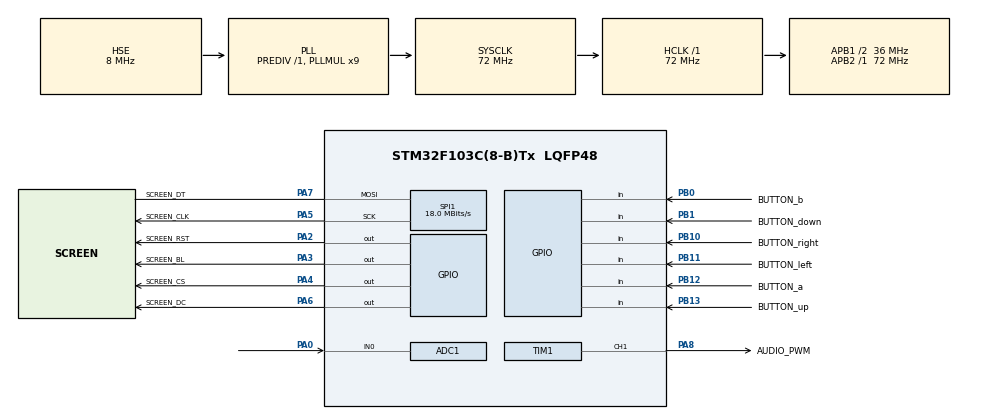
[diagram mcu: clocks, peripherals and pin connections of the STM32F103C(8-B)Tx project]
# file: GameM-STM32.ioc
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ADC1.Channel-2\#ChannelRegularConversion=ADC_CHANNEL_0
ADC1.NbrOfConversionFlag=1
ADC1.Rank-2\#ChannelRegularConversion=1
ADC1.SamplingTime-2\#ChannelRegularConversion=ADC_SAMPLETIME_1CYCLE_5
ADC1.master=1
Dma.Request0=SPI1_TX
Dma.SPI1_TX.0.Direction=DMA_MEMORY_TO_PERIPH
Dma.SPI1_TX.0.Instance=DMA1_Channel3
Dma.SPI1_TX.0.MemDataAlignment=DMA_MDATAALIGN_BYTE
Dma.SPI1_TX.0.MemInc=DMA_MINC_ENABLE
Dma.SPI1_TX.0.Mode=DMA_NORMAL
Dma.SPI1_TX.0.PeriphDataAlignment=DMA_PDATAALIGN_BYTE
Dma.SPI1_TX.0.PeriphInc=DMA_PINC_DISABLE
Dma.SPI1_TX.0.Priority=DMA_PRIORITY_LOW
Mcu.Family=STM32F1
Mcu.Name=STM32F103C(8-B)Tx
Mcu.Package=LQFP48
Mcu.UserConstants=timebase,$$_TIM2_IP_HANDLE_$$;audio_tim,$$_TIM1_IP_HANDLE_$$;AUDIO_CHANNEL,TIM_CHANNEL_1
NVIC.DMA1_Channel3_IRQn=true\:0\:15\:false\:false\:true\:false\:true\:true
NVIC.PriorityGroup=NVIC_PRIORITYGROUP_0
NVIC.SPI1_IRQn=true\:0\:1\:false\:false\:true\:true\:true\:true
NVIC.TIM2_IRQn=true\:0\:0\:false\:false\:true\:true\:true\:true
PA0-WKUP.Signal=ADCx_IN0
PA13.Mode=Serial_Wire
PA13.Signal=SYS_JTMS-SWDIO
PA14.Mode=Serial_Wire
PA14.Signal=SYS_JTCK-SWCLK
PA2.GPIO_Label=SCREEN_RST
PA2.Signal=GPIO_Output
PA3.GPIO_Label=SCREEN_BL
PA3.Signal=GPIO_Output
PA4.GPIO_Label=SCREEN_CS
PA4.Signal=GPIO_Output
PA5.GPIO_Label=SCREEN_CLK
PA5.Mode=Simplex_Bidirectional_Master
PA5.Signal=SPI1_SCK
PA6.GPIO_Label=SCREEN_DC
PA6.Signal=GPIO_Output
PA7.GPIO_Label=SCREEN_DT
PA7.Mode=Simplex_Bidirectional_Master
PA7.Signal=SPI1_MOSI
PA8.GPIO_Label=AUDIO_PWM
PA8.Signal=S_TIM1_CH1
PB0.GPIO_Label=BUTTON_b
PB0.GPIO_Mode=GPIO_MODE_INPUT
PB0.GPIO_PuPd=GPIO_PULLUP
PB0.Signal=GPIO_Input
PB1.GPIO_Label=BUTTON_down
PB1.GPIO_Mode=GPIO_MODE_INPUT
PB1.GPIO_PuPd=GPIO_PULLUP
PB1.Signal=GPIO_Input
PB10.GPIO_Label=BUTTON_right
PB10.GPIO_Mode=GPIO_MODE_INPUT
PB10.GPIO_PuPd=GPIO_PULLUP
PB10.Signal=GPIO_Input
PB11.GPIO_Label=BUTTON_left
PB11.GPIO_PuPd=GPIO_PULLUP
PB11.Signal=GPIO_Input
PB12.GPIO_Label=BUTTON_a
PB12.GPIO_Mode=GPIO_MODE_INPUT
PB12.GPIO_PuPd=GPIO_PULLUP
PB12.Signal=GPIO_Input
PB13.GPIO_Label=BUTTON_up
PB13.GPIO_Mode=GPIO_MODE_INPUT
PB13.GPIO_PuPd=GPIO_PULLUP
PB13.Signal=GPIO_Input
PD0-OSC_IN.Mode=HSE-External-Oscillator
PD0-OSC_IN.Signal=RCC_OSC_IN
PD1-OSC_OUT.Mode=HSE-External-Oscillator
PD1-OSC_OUT.Signal=RCC_OSC_OUT
ProjectManager.HeapSize=0x200
ProjectManager.StackSize=0x1000
ProjectManager.TargetToolchain=CMake
RCC.ADCPresc=RCC_ADCPCLK2_DIV6
RCC.AHBFreq_Value=72000000
RCC.APB1CLKDivider=RCC_HCLK_DIV2
RCC.APB1Freq_Value=36000000
RCC.APB1TimFreq_Value=72000000
RCC.APB2Freq_Value=72000000
RCC.APB2TimFreq_Value=72000000
RCC.HCLKFreq_Value=72000000
RCC.PLLMUL=RCC_PLL_MUL9
RCC.PLLSourceVirtual=RCC_PLLSOURCE_HSE
RCC.SYSCLKFreq_VALUE=72000000
RCC.SYSCLKSource=RCC_SYSCLKSOURCE_PLLCLK
RCC.USBFreq_Value=72000000
SH.ADCx_IN0.0=ADC1_IN0,IN0
SH.S_TIM1_CH1.0=TIM1_CH1,PWM Generation1 CH1
SPI1.BaudRatePrescaler=SPI_BAUDRATEPRESCALER_4
SPI1.CalculateBaudRate=18.0 MBits/s
SPI1.Direction=SPI_DIRECTION_1LINE
SPI1.Mode=SPI_MODE_MASTER
SPI1.VirtualType=VM_MASTER
TIM1.AutoReloadPreload=TIM_AUTORELOAD_PRELOAD_ENABLE
TIM1.Channel-PWM\ Generation1\ CH1=TIM_CHANNEL_1
TIM1.Period=20454
TIM1.Prescaler=7
TIM2.AutoReloadPreload=TIM_AUTORELOAD_PRELOAD_DISABLE
TIM2.Period=999
TIM2.Prescaler=71
TIM2.TIM_MasterOutputTrigger=TIM_TRGO_RESET
VP_TIM1_VS_ClockSourceINT.Mode=Internal
VP_TIM2_VS_ClockSourceINT.Mode=Internal
board=custom

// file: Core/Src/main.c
/* USER CODE BEGIN Header */
/**
 ******************************************************************************
 * @file           : main.c
 * @brief          : Main program body
 ******************************************************************************
 * @attention
 *
 * Copyright (c) 2026 STMicroelectronics.
 * All rights reserved.
 *
 * This software is licensed under terms that can be found in the LICENSE file
 * in the root directory of this software component.
 * If no LICENSE file comes with this software, it is provided AS-IS.
 *
 ******************************************************************************
 */
/* USER CODE END Header */
#include "main.h"
#include "adc.h"
#include "dma.h"
#include "spi.h"
#include "tim.h"
#include "gpio.h"

/* USER CODE BEGIN Includes */
#include "extime.h"
#include "GameM.h"

/* USER CODE END Includes */

void SystemClock_Config(void);

int main(void)
{

  /* MCU Configuration--------------------------------------------------------*/

  /* Reset of all peripherals, Initializes the Flash interface and the Systick. */
  HAL_Init();

  /* Configure the system clock */
  SystemClock_Config();

  /* Initialize all configured peripherals */
  MX_GPIO_Init();
  MX_DMA_Init();
  MX_SPI1_Init();
  MX_ADC1_Init();
  MX_TIM2_Init();
  MX_TIM1_Init();

  /* Infinite loop */
  /* USER CODE BEGIN WHILE */

    if (&crateGame == nullptr || &destroyGame == nullptr) Error_Handler();
    Game *game = crateGame();
    if (!(game)) Error_Handler();
    GameInitInfo *game_init_info = game->init(initGameInitInfo(getGameInitInfoPointer()));
    if (!game_init_info->init_statues) Error_Handler();

    GameState *game_state = getGameStatePointer();
    initGameState(game_state);

    const int64_t game_loop_time = 1000000 / game_init_info->fps;
    const int64_t audio_loop_time = game_init_info->audio_bpm != 0 ? (1000000 / game_init_info->audio_bpm / 100)
                                                                   : 1000000;
    int64_t game_update_timestamp = 0;
    int64_t audio_update_timestamp = 0;
    int64_t last = 0, chk=0;
    while (1) {
        int64_t loop_timestamp = timeMicros();
        if (audio_update_timestamp + audio_loop_time <= loop_timestamp) {
            audio_update_timestamp = loop_timestamp;
            updateAudio(game_state);
        }
        if (game_update_timestamp + game_loop_time <= loop_timestamp) {
            game_update_timestamp = loop_timestamp;
            game->update(game_state);
            updateGameState(game_state);
        }
        (void)(chk=loop_timestamp-last);
        last=loop_timestamp;
    /* USER CODE END WHILE */

    }
}

void SystemClock_Config(void)
{
  RCC_OscInitTypeDef RCC_OscInitStruct = {0};
  RCC_ClkInitTypeDef RCC_ClkInitStruct = {0};
  RCC_PeriphCLKInitTypeDef PeriphClkInit = {0};

  /** Initializes the RCC Oscillators according to the specified parameters
  * in the RCC_OscInitTypeDef structure.
  */
  RCC_OscInitStruct.OscillatorType = RCC_OSCILLATORTYPE_HSE;
  RCC_OscInitStruct.HSEState = RCC_HSE_ON;
  RCC_OscInitStruct.HSEPredivValue = RCC_HSE_PREDIV_DIV1;
  RCC_OscInitStruct.HSIState = RCC_HSI_ON;
  RCC_OscInitStruct.PLL.PLLState = RCC_PLL_ON;
  RCC_OscInitStruct.PLL.PLLSource = RCC_PLLSOURCE_HSE;
  RCC_OscInitStruct.PLL.PLLMUL = RCC_PLL_MUL9;
  if (HAL_RCC_OscConfig(&RCC_OscInitStruct) != HAL_OK)
  {
    Error_Handler();
  }

  /** Initializes the CPU, AHB and APB buses clocks
  */
  RCC_ClkInitStruct.ClockType = RCC_CLOCKTYPE_HCLK|RCC_CLOCKTYPE_SYSCLK
                              |RCC_CLOCKTYPE_PCLK1|RCC_CLOCKTYPE_PCLK2;
  RCC_ClkInitStruct.SYSCLKSource = RCC_SYSCLKSOURCE_PLLCLK;
  RCC_ClkInitStruct.AHBCLKDivider = RCC_SYSCLK_DIV1;
  RCC_ClkInitStruct.APB1CLKDivider = RCC_HCLK_DIV2;
  RCC_ClkInitStruct.APB2CLKDivider = RCC_HCLK_DIV1;

  if (HAL_RCC_ClockConfig(&RCC_ClkInitStruct, FLASH_LATENCY_2) != HAL_OK)
  {
    Error_Handler();
  }
  PeriphClkInit.PeriphClockSelection = RCC_PERIPHCLK_ADC;
  PeriphClkInit.AdcClockSelection = RCC_ADCPCLK2_DIV6;
  if (HAL_RCCEx_PeriphCLKConfig(&PeriphClkInit) != HAL_OK)
  {
    Error_Handler();
  }
}

void Error_Handler(void)
{
    __disable_irq();
    while (1) {}
}
